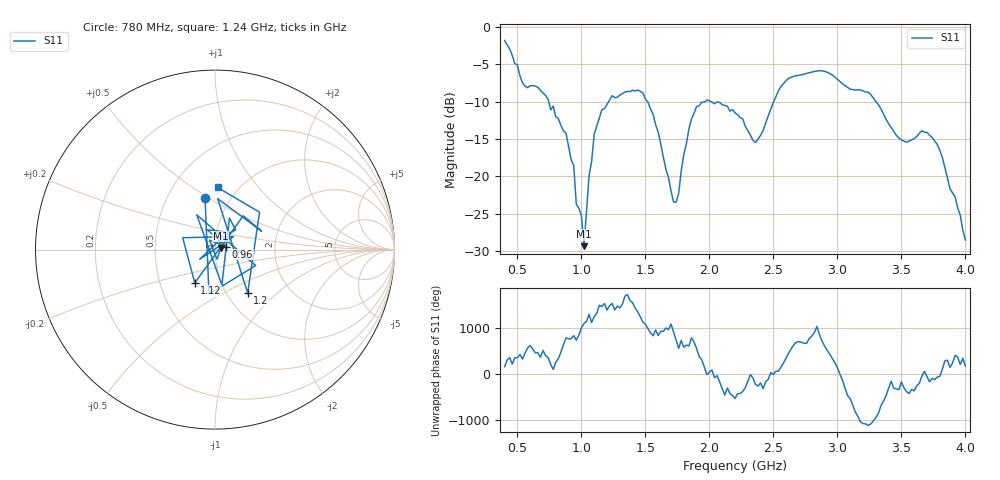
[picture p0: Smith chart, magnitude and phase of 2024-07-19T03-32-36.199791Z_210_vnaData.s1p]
!Created with skrf (http://scikit-rf.org).
# Hz S RI R 50.0
!freq ReS11 ImS11
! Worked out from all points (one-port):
!   181 points, 400 MHz to 4 GHz, reference 50 ohm
!   lowest |S11| = -29.4 dB at 1.02 GHz (marker M1), VSWR 1.07, Z = 53.4 + j0.982 ohm
!   |S11| at or under -10 dB: 744.6 MHz to 1.213 GHz (468.2 MHz wide, 47.8 % of centre); 2.015 GHz to 2.502 GHz (487.2 MHz wide, 21.6 % of centre); 3.301 GHz to end of sweep (the widest 3 of 4)
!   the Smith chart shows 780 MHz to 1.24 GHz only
!   S11 on the Smith chart (normalised r, x): 780 MHz: 0.76, +0.48; 960 MHz: 1.13, +0.04; 1.12 GHz: 0.75, -0.29; 1.2 GHz: 1.25, -0.67; 1.24 GHz: 0.81, +0.63
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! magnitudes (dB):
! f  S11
! 400 MHz  -1.8
! 540 MHz  -7.5
! 780 MHz  -10.6
! 860 MHz  -13.9
! 940 MHz  -18.6
! 960 MHz  -23.7
! 1 GHz  -25.2
! 1.02 GHz  -29.4
! 1.06 GHz  -19.9
! 1.12 GHz  -13.3
! 1.2 GHz  -10.4
! 1.24 GHz  -9.2
! 1.3 GHz  -9.1
! 1.48 GHz  -8.8
! 1.6 GHz  -14.1
! 1.72 GHz  -23.4
! 1.76 GHz  -22.3
! 1.84 GHz  -13.7
! 1.9 GHz  -10.6
! 2.2 GHz  -11.5
! 2.36 GHz  -15.5
! 2.54 GHz  -8.5
! 2.66 GHz  -6.6
! 3.1 GHz  -8.3
! 3.24 GHz  -8.7
! 3.56 GHz  -15.3
! 3.78 GHz  -15.7
! 4 GHz  -28.6
